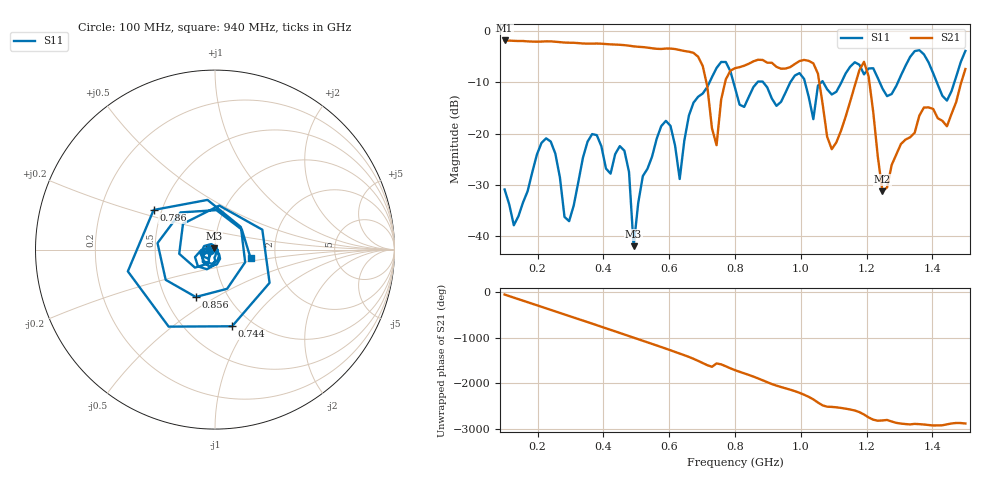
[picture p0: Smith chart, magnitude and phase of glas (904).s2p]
! NanoVNA-App
! Date: 2025-09-25 16:02:30
! Start: 100MHz Stop: 1,5GHz Points: 101
! S-Parameter data: F S11 S21 S12 S22
# Hz S RI R 50
!  Frequency  S11_Real  S11_Imag  S21_Real  S21_Imag  S12_Real  S12_Imag  S22_Real  S22_Imag
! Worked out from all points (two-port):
!   101 points, 100 MHz to 1.5 GHz, reference 50 ohm
!   highest |S21| = -1.80 dB at 100 MHz (marker M1); lowest = -31.3 dB at 1.248 GHz (marker M2)
!   |S21| within 3 dB of the highest: start of sweep to 684.6 MHz
!   lowest |S11| = -42.0 dB at 492 MHz (marker M3), VSWR 1.02, Z = 49.5 + j0.615 ohm
!   |S11| at or under -10 dB: start of sweep to 722.4 MHz; 795.5 MHz to 867.8 MHz (72.38 MHz wide, 8.7 % of centre); 886 MHz to 967.8 MHz (81.8 MHz wide, 8.83 % of centre) (the widest 3 of 7)
!   S12 and S22 are empty: the file has one direction only
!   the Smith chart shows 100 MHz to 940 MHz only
!   S11 on the Smith chart (normalised r, x): 100 MHz: 0.94, -0.01; 744 MHz: 0.81, -0.85; 786 MHz: 0.45, +0.24; 856 MHz: 0.71, -0.41; 940 MHz: 1.49, -0.15
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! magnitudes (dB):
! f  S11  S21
! 100 MHz  -30.9  -1.8
! 128 MHz  -37.9  -1.9
! 226 MHz  -20.9  -2.0
! 296 MHz  -37.1  -2.2
! 338 MHz  -24.7  -2.4
! 464 MHz  -23.4  -2.7
! 492 MHz  -42.0  -3.0
! 576 MHz  -18.5  -3.5
! 632 MHz  -28.9  -3.7
! 702 MHz  -12.2  -6.8
! 744 MHz  -7.2  -22.3
! 786 MHz  -7.8  -7.7
! 800 MHz  -11.1  -7.2
! 856 MHz  -10.9  -5.9
! 940 MHz  -13.8  -7.3
! 1.038 GHz  -17.2  -6.3
! 1.094 GHz  -12.4  -23.0
! 1.192 GHz  -8.4  -6.0
! 1.248 GHz  -11.2  -31.3
! 1.276 GHz  -12.3  -26.1
! 1.444 GHz  -13.6  -18.6
! 1.5 GHz  -3.9  -7.4
